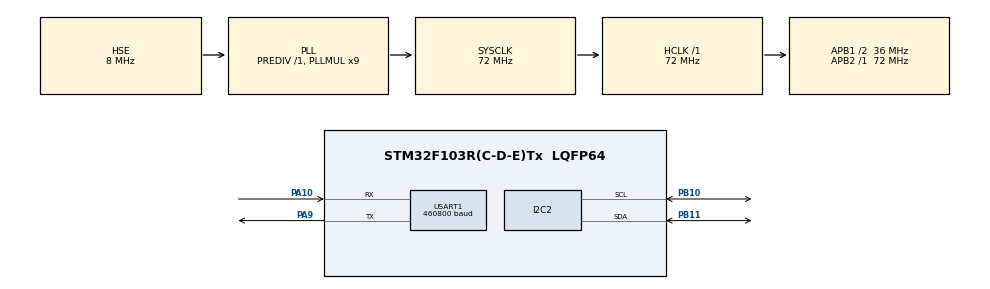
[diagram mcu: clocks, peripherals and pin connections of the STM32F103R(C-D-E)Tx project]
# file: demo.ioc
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I2C2.I2C_Mode=I2C_Fast
I2C2.NoStretchMode=I2C_NOSTRETCH_DISABLE
Mcu.Family=STM32F1
Mcu.Name=STM32F103R(C-D-E)Tx
Mcu.Package=LQFP64
NVIC.PriorityGroup=NVIC_PRIORITYGROUP_4
NVIC.USART1_IRQn=true\:0\:0\:false\:false\:true\:true\:true\:true
PA10.Mode=Asynchronous
PA10.Signal=USART1_RX
PA13.Mode=Serial_Wire
PA13.Signal=SYS_JTMS-SWDIO
PA14.Mode=Serial_Wire
PA14.Signal=SYS_JTCK-SWCLK
PA9.Mode=Asynchronous
PA9.Signal=USART1_TX
PB10.GPIO_Pu=GPIO_PULLUP
PB10.Mode=I2C
PB10.Signal=I2C2_SCL
PB11.GPIO_Pu=GPIO_PULLUP
PB11.Mode=I2C
PB11.Signal=I2C2_SDA
PD0-OSC_IN.Mode=HSE-External-Oscillator
PD0-OSC_IN.Signal=RCC_OSC_IN
PD1-OSC_OUT.Mode=HSE-External-Oscillator
PD1-OSC_OUT.Signal=RCC_OSC_OUT
ProjectManager.HeapSize=0x200
ProjectManager.StackSize=0x400
ProjectManager.TargetToolchain=MDK-ARM V5
RCC.AHBFreq_Value=72000000
RCC.APB1CLKDivider=RCC_HCLK_DIV2
RCC.APB1Freq_Value=36000000
RCC.APB1TimFreq_Value=72000000
RCC.APB2Freq_Value=72000000
RCC.APB2TimFreq_Value=72000000
RCC.HCLKFreq_Value=72000000
RCC.PLLMUL=RCC_PLL_MUL9
RCC.PLLSourceVirtual=RCC_PLLSOURCE_HSE
RCC.SYSCLKFreq_VALUE=72000000
RCC.SYSCLKSource=RCC_SYSCLKSOURCE_PLLCLK
RCC.USBFreq_Value=72000000
USART1.BaudRate=460800
USART1.VirtualMode=VM_ASYNC
board=custom

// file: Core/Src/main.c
/* USER CODE BEGIN Header */
/**
 ******************************************************************************
 * @file           : main.c
 * @brief          : Main program body
 ******************************************************************************
 * @attention
 *
 * <h2><center>&copy; Copyright (c) 2022 STMicroelectronics.
 * All rights reserved.</center></h2>
 *
 * This software component is licensed by ST under BSD 3-Clause license,
 * the "License"; You may not use this file except in compliance with the
 * License. You may obtain a copy of the License at:
 *                        opensource.org/licenses/BSD-3-Clause
 *
 ******************************************************************************
 */
/* USER CODE END Header */
#include "main.h"
#include "gpio.h"
#include "i2c.h"
#include "usart.h"

/* USER CODE BEGIN Includes */
#include "ssd1306/ssd1306_i2c.h"

/* USER CODE END Includes */

/* USER CODE BEGIN PTD */

#define LENGTH 1024
uint8_t rxBuffer[LENGTH];
uint8_t rxCount = 0;
char    flag    = 0;

/* USER CODE END PTD */

void SystemClock_Config(void);

/* USER CODE BEGIN 0 */
void HAL_UART_RxCpltCallback(UART_HandleTypeDef* huart) {
    flag = 1;
    HAL_UART_Receive_IT(&huart1, (uint8_t*)rxBuffer, 1024);
}

/* USER CODE END 0 */

int main(void) {

    /* MCU Configuration--------------------------------------------------------*/

    /* Reset of all peripherals, Initializes the Flash interface and the Systick. */
    HAL_Init();

    /* USER CODE BEGIN Init */
    HAL_Delay(500);
    /* USER CODE END Init */

    /* Configure the system clock */
    SystemClock_Config();

    /* Initialize all configured peripherals */
    MX_GPIO_Init();
    MX_USART1_UART_Init();
    MX_I2C2_Init();

    /* Infinite loop */
    /* USER CODE BEGIN WHILE */

    ssd1306_init();
    ssd1306_clear();

    HAL_UART_Receive_IT(&huart1, (uint8_t*)rxBuffer, 1024);

    while (1) {
        if (flag == 1) {
            ssd1306_fill_img(rxBuffer);
            flag = 0;
        }
        /* USER CODE END WHILE */

    }
}

void SystemClock_Config(void) {
    RCC_OscInitTypeDef RCC_OscInitStruct = {0};
    RCC_ClkInitTypeDef RCC_ClkInitStruct = {0};

    /** Initializes the RCC Oscillators according to the specified parameters
     * in the RCC_OscInitTypeDef structure.
     */
    RCC_OscInitStruct.OscillatorType = RCC_OSCILLATORTYPE_HSE;
    RCC_OscInitStruct.HSEState       = RCC_HSE_ON;
    RCC_OscInitStruct.HSEPredivValue = RCC_HSE_PREDIV_DIV1;
    RCC_OscInitStruct.HSIState       = RCC_HSI_ON;
    RCC_OscInitStruct.PLL.PLLState   = RCC_PLL_ON;
    RCC_OscInitStruct.PLL.PLLSource  = RCC_PLLSOURCE_HSE;
    RCC_OscInitStruct.PLL.PLLMUL     = RCC_PLL_MUL9;
    if (HAL_RCC_OscConfig(&RCC_OscInitStruct) != HAL_OK) {
        Error_Handler();
    }

    /** Initializes the CPU, AHB and APB buses clocks
     */
    RCC_ClkInitStruct.ClockType      = RCC_CLOCKTYPE_HCLK | RCC_CLOCKTYPE_SYSCLK | RCC_CLOCKTYPE_PCLK1 | RCC_CLOCKTYPE_PCLK2;
    RCC_ClkInitStruct.SYSCLKSource   = RCC_SYSCLKSOURCE_PLLCLK;
    RCC_ClkInitStruct.AHBCLKDivider  = RCC_SYSCLK_DIV1;
    RCC_ClkInitStruct.APB1CLKDivider = RCC_HCLK_DIV2;
    RCC_ClkInitStruct.APB2CLKDivider = RCC_HCLK_DIV1;

    if (HAL_RCC_ClockConfig(&RCC_ClkInitStruct, FLASH_LATENCY_2) != HAL_OK) {
        Error_Handler();
    }
}

void Error_Handler(void) {
}
